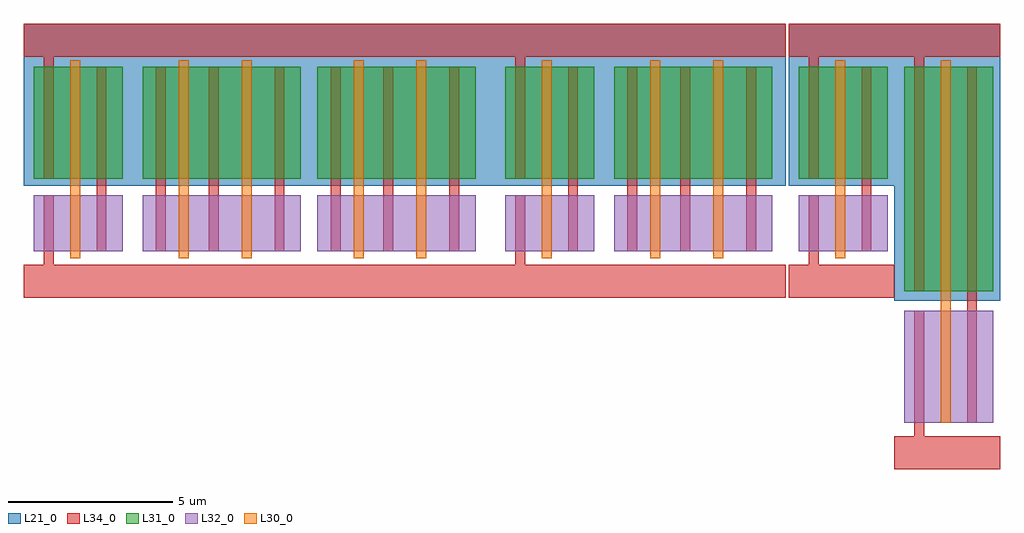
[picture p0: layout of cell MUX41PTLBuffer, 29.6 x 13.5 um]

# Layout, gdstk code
import gdstk
lib = gdstk.Library(unit=1e-6, precision=1e-09)
def R(c, l, rs):  # rectangles x0, y0, x1, y1
    for r in rs: c.add(gdstk.rectangle(r[:2], r[2:], *l))
def P(c, l, *ps):  # polygons
    for p in ps: c.add(gdstk.Polygon(p, *l))
L21_0 = (21, 0)
L30_0 = (30, 0)
L31_0 = (31, 0)
L32_0 = (32, 0)
L34_0 = (34, 0)

inv2x = lib.new_cell('inv2x')
R(inv2x, L21_0, [(0,3.4,3.2,8.3)])
R(inv2x, L30_0, [(1.4,1.2,1.7,7.2)])
R(inv2x, L31_0, [(0.3,3.6,3,7)])
R(inv2x, L32_0, [(0.3,1.4,3,3.1)])
R(inv2x, L34_0, [(2.2,1.4,2.5,7)])
P(inv2x, L34_0, [(0,0),(0,1),(0.6,1),(0.6,3.1),(0.9,3.1),(0.9,1),(3.2,1),(3.2,0)],
  [(0.6,3.6),(0.6,7.3),(0,7.3),(0,8.3),(3.2,8.3),(3.2,7.3),(0.9,7.3),(0.9,3.6)])

inv4x = lib.new_cell('inv4x')
R(inv4x, L21_0, [(0,-0.1,3.2,8.3)])
R(inv4x, L30_0, [(1.4,-3.8,1.7,7.2)])
R(inv4x, L31_0, [(0.3,0.2,3,7)])
R(inv4x, L32_0, [(0.3,-3.8,3,-0.4)])
R(inv4x, L34_0, [(2.2,-3.8,2.5,7)])
P(inv4x, L34_0, [(0.6,0.2),(0.6,7.3),(0,7.3),(0,8.3),(3.2,8.3),(3.2,7.3),(0.9,7.3),(0.9,0.2)],
  [(0,-5.2),(0,-4.2),(0.6,-4.2),(0.6,-0.4),(0.9,-0.4),(0.9,-4.2),(3.2,-4.2),(3.2,-5.2)])

buffer = lib.new_cell('buffer')
buffer.add(gdstk.Reference(inv2x, (-0.3,-0.1)))
buffer.add(gdstk.Reference(inv4x, (2.9,-0.1)))

ptlmuxbuffer = lib.new_cell('ptlmuxbuffer')
R(ptlmuxbuffer, L21_0, [(-2.7,0.2,17.2,5.1)])
R(ptlmuxbuffer, L30_0, [(-1.2,-2,-0.9,4), (0.7,-2,1,4), (4.1,-2,4.4,4), (6,-2,6.3,4), (13.1,-2,13.4,4), (15,-2,15.3,4)])
R(ptlmuxbuffer, L31_0, [(-2.3,0.4,2.5,3.8), (3,0.4,7.8,3.8), (12,0.4,16.8,3.8)])
R(ptlmuxbuffer, L32_0, [(-2.3,-1.8,2.5,-0.1), (3,-1.8,7.8,-0.1), (12,-1.8,16.8,-0.1)])
R(ptlmuxbuffer, L34_0, [(-2.7,-3.2,17.2,-2.2), (-1.9,-1.8,-1.6,3.8), (-0.3,-1.8,0,3.8), (1.7,-1.8,2,3.8), (3.4,-1.8,3.7,3.8), (5,-1.8,5.3,3.8), (7,-1.8,7.3,3.8), (12.4,-1.8,12.7,3.8), (14,-1.8,14.3,3.8), (16,-1.8,16.3,3.8), (-2.7,4.1,17.2,5.1)])
ptlmuxbuffer.add(gdstk.Reference(inv2x, (-5.9,-3.2)))
ptlmuxbuffer.add(gdstk.Reference(inv2x, (8.4,-3.2)))

mux41ptlbuffer = lib.new_cell('MUX41PTLBuffer')
mux41ptlbuffer.add(gdstk.Reference(buffer, (0.1,-0.1)))
mux41ptlbuffer.add(gdstk.Reference(ptlmuxbuffer, (-17.5,3)))

lib.write_gds('MUX41PTLBuffer.gds')
